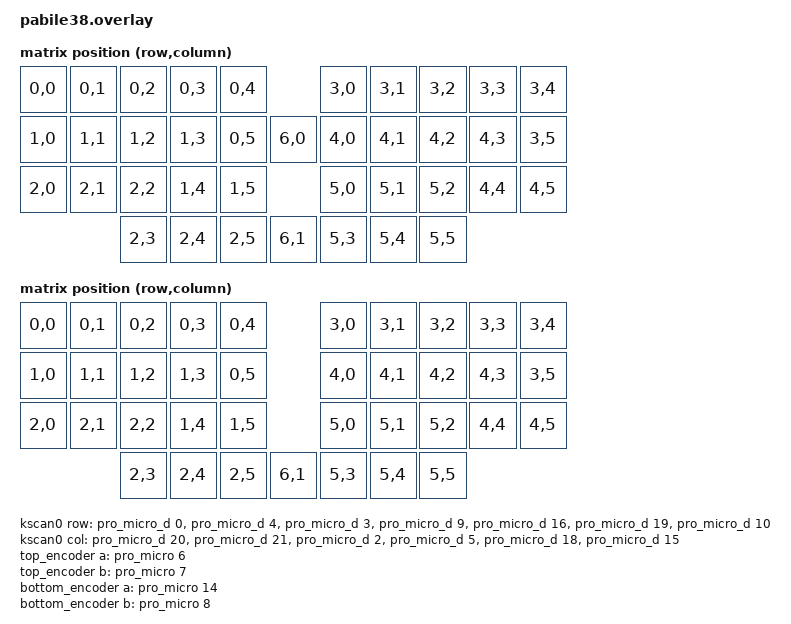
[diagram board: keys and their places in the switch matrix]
 /*
 * Copyright (c) 2023 The ZMK Contributors
 *
 * SPDX-License-Identifier: MIT
 */

#include <dt-bindings/zmk/matrix_transform.h>
#include <pabile38-layouts.dtsi>

/ {
    chosen {
        zmk,kscan = &kscan0;
        zmk,physical-layout = &default_layout;
    };

    kscan0: kscan_0 {
        compatible = "zmk,kscan-gpio-matrix";
        label = "KSCAN";
        diode-direction = "col2row";

        col-gpios
            = <&pro_micro_d 20 GPIO_ACTIVE_HIGH>
            , <&pro_micro_d 21 GPIO_ACTIVE_HIGH>
            , <&pro_micro_d 2 GPIO_ACTIVE_HIGH>
            , <&pro_micro_d 5 GPIO_ACTIVE_HIGH>
            , <&pro_micro_d 18 GPIO_ACTIVE_HIGH>
            , <&pro_micro_d 15 GPIO_ACTIVE_HIGH>
        ;

        row-gpios
            = <&pro_micro_d 0 (GPIO_ACTIVE_HIGH | GPIO_PULL_DOWN)>
            , <&pro_micro_d 4 (GPIO_ACTIVE_HIGH | GPIO_PULL_DOWN)>
            , <&pro_micro_d 3 (GPIO_ACTIVE_HIGH | GPIO_PULL_DOWN)>
            , <&pro_micro_d 9 (GPIO_ACTIVE_HIGH | GPIO_PULL_DOWN)>
            , <&pro_micro_d 16 (GPIO_ACTIVE_HIGH | GPIO_PULL_DOWN)>
            , <&pro_micro_d 19 (GPIO_ACTIVE_HIGH | GPIO_PULL_DOWN)>
            , <&pro_micro_d 10 (GPIO_ACTIVE_HIGH | GPIO_PULL_DOWN)>
            ;
    };

    default_transform: keymap_transform_0 {
        compatible = "zmk,matrix-transform";
        columns = <6>;
        rows = <7>;
            
        // | MX1  |  MX2  |  MX3  |  MX4  |  MX5  |             |  MX19 |  MX20  |  MX21  |  MX22  |  MX23 |  
        // | MX7  |  MX8  |  MX9  |  MX10 |  MX6  |    MX37     |  MX25 |  MX26  |  MX27  |  MX28  |  MX24 |
        // | MX13 |  MX14 |  MX15 |  MX11 |  MX12 |             |  MX31 |  MX32  |  MX33  |  MX29  |  MX30 |
        //                |  MX16 |  MX17 |  MX18 |    MX38     |  MX34 |  MX35  |  MX36  |
 
        map = <
            RC(0,0) RC(0,1) RC(0,2) RC(0,3) RC(0,4)             RC(3,0) RC(3,1) RC(3,2) RC(3,3) RC(3,4)
            RC(1,0) RC(1,1) RC(1,2) RC(1,3) RC(0,5)   RC(6,0)   RC(4,0) RC(4,1) RC(4,2) RC(4,3) RC(3,5)
            RC(2,0) RC(2,1) RC(2,2) RC(1,4) RC(1,5)             RC(5,0) RC(5,1) RC(5,2) RC(4,4) RC(4,5)
                            RC(2,3) RC(2,4) RC(2,5)   RC(6,1)   RC(5,3) RC(5,4) RC(5,5)
            >;
        };

    alternate_transform: keymap_transform_1 {
        compatible = "zmk,matrix-transform";
        columns = <6>;
        rows = <7>;
            
        // | MX1  |  MX2  |  MX3  |  MX4  |  MX5  |             |  MX19 |  MX20  |  MX21  |  MX22  |  MX23 |  
        // | MX7  |  MX8  |  MX9  |  MX10 |  MX6  |    MX37     |  MX25 |  MX26  |  MX27  |  MX28  |  MX24 |
        // | MX13 |  MX14 |  MX15 |  MX11 |  MX12 |             |  MX31 |  MX32  |  MX33  |  MX29  |  MX30 |
        //                |  MX16 |  MX17 |  MX18 |    MX38     |  MX34 |  MX35  |  MX36  |
 
        map = <
            RC(0,0) RC(0,1) RC(0,2) RC(0,3) RC(0,4)             RC(3,0) RC(3,1) RC(3,2) RC(3,3) RC(3,4)
            RC(1,0) RC(1,1) RC(1,2) RC(1,3) RC(0,5)             RC(4,0) RC(4,1) RC(4,2) RC(4,3) RC(3,5)
            RC(2,0) RC(2,1) RC(2,2) RC(1,4) RC(1,5)             RC(5,0) RC(5,1) RC(5,2) RC(4,4) RC(4,5)
                            RC(2,3) RC(2,4) RC(2,5)   RC(6,1)   RC(5,3) RC(5,4) RC(5,5)
            >;
        };
		
    top_encoder: encoder_top {
        compatible = "alps,ec11";
        label = "TOP_ENCODER";
        a-gpios = <&pro_micro 6 (GPIO_ACTIVE_LOW | GPIO_PULL_UP)>;
        b-gpios = <&pro_micro 7 (GPIO_ACTIVE_LOW | GPIO_PULL_UP)>;
        steps = <80>;
        status = "okay";
    };

    bottom_encoder: encoder_bottom {
        compatible = "alps,ec11";
        label = "BOTTOM_ENCODER";
        a-gpios = <&pro_micro 14 (GPIO_ACTIVE_LOW | GPIO_PULL_UP)>;
        b-gpios = <&pro_micro 8 (GPIO_ACTIVE_LOW | GPIO_PULL_UP)>;
        steps = <80>;
        status = "okay";
    };

    sensors: sensors {
        compatible = "zmk,keymap-sensors";
        sensors = <&top_encoder &bottom_encoder>;
        triggers-per-rotation = <20>;
    };
};

